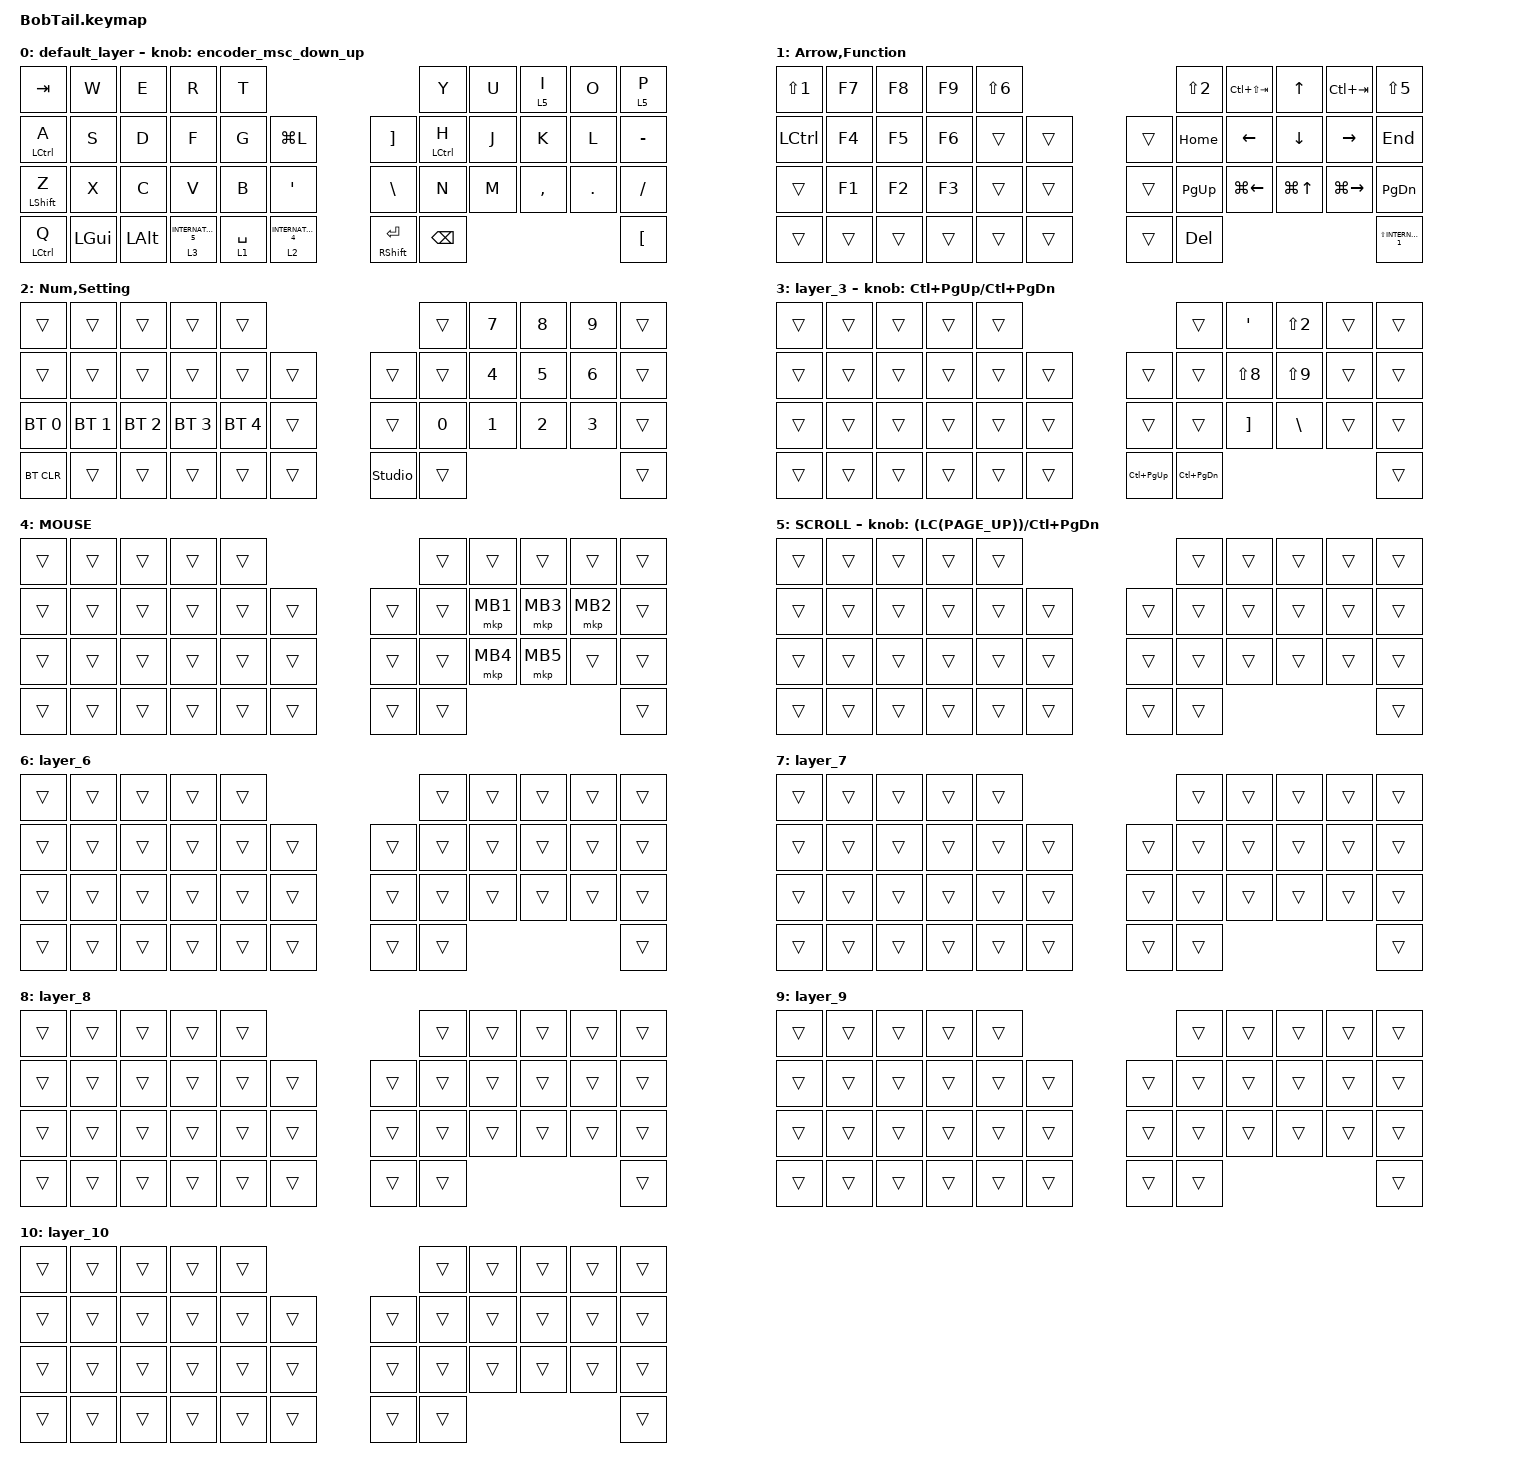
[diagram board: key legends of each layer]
#include <behaviors.dtsi>
#include <dt-bindings/zmk/bt.h>
#include <dt-bindings/zmk/keys.h>
#include <dt-bindings/zmk/pointing.h>

#define MOUSE 4
#define SCROLL 5
#define NUM 6
#define ZMK_POINTING_DEFAULT_SCRL_VAL 80

&mt {
    flavor = "balanced";
    quick-tap-ms = <0>;
};

/ {
    combos {
        compatible = "zmk,combos";

        shift_tab {
            bindings = <&kp LANG2>;
            key-positions = <12 13>;
        };

        lang {
            bindings = <&kp LANG1>;
            key-positions = <18 19>;
        };

        esc {
            bindings = <&kp ESCAPE>;
            key-positions = <0 1>;
        };

        taskview {
            bindings = <&kp LG(TAB)>;
            key-positions = <8 9>;
        };

        screenshot {
            bindings = <&kp LG(LS(S))>;
            key-positions = <20 21>;
        };

        creativepaste {
            bindings = <&kp LC(LA(V))>;
            key-positions = <12 13 11>;
        };
    };

    behaviors {
        encoder_msc_down_up: encoder_msc_down_up {
            compatible = "zmk,behavior-sensor-rotate";
            label = "ENCODER_MSC_DOWN_UP";
            #sensor-binding-cells = <0>;
            bindings = <&msc SCRL_UP>, <&msc SCRL_DOWN>;

            tap-ms = <20>;
        };
    };

    keymap {
        compatible = "zmk,keymap";

        default_layer {
            bindings = <
&kp TAB           &kp W         &kp E         &kp R                  &kp T                                                      &kp Y          &kp U  &lt 5 I    &kp O    &lt 5 P
&mt LCTRL A       &kp S         &kp D         &kp F                  &kp G        &kp LG(L)                  &kp RIGHT_BRACKET  &mt LCTRL H    &kp J  &kp K      &kp L    &kp MINUS
&mt LEFT_SHIFT Z  &kp X         &kp C         &kp V                  &kp B        &kp SINGLE_QUOTE           &kp BACKSLASH      &kp N          &kp M  &kp COMMA  &kp DOT  &kp SLASH
&mt LCTRL Q       &kp LEFT_GUI  &kp LEFT_ALT  &lt 3 INTERNATIONAL_5  &lt 1 SPACE  &lt 2 INTERNATIONAL_4      &mt RSHFT ENTER    &kp BACKSPACE                             &kp LEFT_BRACKET
            >;

            sensor-bindings = <&encoder_msc_down_up>;
        };

        Arrow,Function {
            bindings = <
&kp LS(N1)  &kp F7  &kp F8  &kp F9  &kp LS(NUMBER_6)                      &kp LS(NUMBER_2)  &kp LC(LS(TAB))     &kp UP_ARROW      &kp LC(TAB)          &kp LS(N5)
&kp LCTRL   &kp F4  &kp F5  &kp F6  &trans            &trans      &trans  &kp HOME          &kp LEFT            &kp DOWN          &kp RIGHT_ARROW      &kp END
&trans      &kp F1  &kp F2  &kp F3  &trans            &trans      &trans  &kp PAGE_UP       &kp LG(LEFT_ARROW)  &kp LG(UP_ARROW)  &kp LG(RIGHT_ARROW)  &kp PAGE_DOWN
&trans      &trans  &trans  &trans  &trans            &trans      &trans  &kp DEL                                                                      &kp LS(INTERNATIONAL_1)
            >;
        };

        Num,Setting {
            bindings = <
&trans        &trans        &trans        &trans        &trans                                    &trans        &kp NUMBER_7  &kp NUMBER_8  &kp NUMBER_9  &trans
&trans        &trans        &trans        &trans        &trans        &trans      &trans          &trans        &kp NUMBER_4  &kp NUMBER_5  &kp NUMBER_6  &trans
&bt BT_SEL 0  &bt BT_SEL 1  &bt BT_SEL 2  &bt BT_SEL 3  &bt BT_SEL 4  &trans      &trans          &kp NUMBER_0  &kp NUMBER_1  &kp NUMBER_2  &kp NUMBER_3  &trans
&bt BT_CLR    &trans        &trans        &trans        &trans        &trans      &studio_unlock  &trans                                                  &trans
            >;
        };

        layer_3 {
            bindings = <
&trans  &trans  &trans  &trans  &trans                               &trans             &kp SINGLE_QUOTE   &kp LS(NUMBER_2)  &trans  &trans
&trans  &trans  &trans  &trans  &trans  &trans      &trans           &trans             &kp LS(NUMBER_8)   &kp LS(NUMBER_9)  &trans  &trans
&trans  &trans  &trans  &trans  &trans  &trans      &trans           &trans             &kp RIGHT_BRACKET  &kp BACKSLASH     &trans  &trans
&trans  &trans  &trans  &trans  &trans  &trans      &kp LC(PAGE_UP)  &kp LC(PAGE_DOWN)                                               &trans
            >;

            sensor-bindings = <&inc_dec_kp LC(PAGE_UP) LC(PAGE_DOWN)>;
        };

        MOUSE {
            bindings = <
&trans  &trans  &trans  &trans  &trans                      &trans  &trans    &trans    &trans    &trans
&trans  &trans  &trans  &trans  &trans  &trans      &trans  &trans  &mkp MB1  &mkp MB3  &mkp MB2  &trans
&trans  &trans  &trans  &trans  &trans  &trans      &trans  &trans  &mkp MB4  &mkp MB5  &trans    &trans
&trans  &trans  &trans  &trans  &trans  &trans      &trans  &trans                                &trans
            >;
        };

        SCROLL {
            bindings = <
&trans  &trans  &trans  &trans  &trans                      &trans  &trans  &trans  &trans  &trans
&trans  &trans  &trans  &trans  &trans  &trans      &trans  &trans  &trans  &trans  &trans  &trans
&trans  &trans  &trans  &trans  &trans  &trans      &trans  &trans  &trans  &trans  &trans  &trans
&trans  &trans  &trans  &trans  &trans  &trans      &trans  &trans                          &trans
            >;

            sensor-bindings = <&inc_dec_kp (LC(PAGE_UP)) LC(PAGE_DOWN)>;
        };

        layer_6 {
            bindings = <
&trans  &trans  &trans  &trans  &trans                      &trans  &trans  &trans  &trans  &trans
&trans  &trans  &trans  &trans  &trans  &trans      &trans  &trans  &trans  &trans  &trans  &trans
&trans  &trans  &trans  &trans  &trans  &trans      &trans  &trans  &trans  &trans  &trans  &trans
&trans  &trans  &trans  &trans  &trans  &trans      &trans  &trans                          &trans
            >;
        };

        layer_7 {
            bindings = <
&trans  &trans  &trans  &trans  &trans                      &trans  &trans  &trans  &trans  &trans
&trans  &trans  &trans  &trans  &trans  &trans      &trans  &trans  &trans  &trans  &trans  &trans
&trans  &trans  &trans  &trans  &trans  &trans      &trans  &trans  &trans  &trans  &trans  &trans
&trans  &trans  &trans  &trans  &trans  &trans      &trans  &trans                          &trans
            >;
        };

        layer_8 {
            bindings = <
&trans  &trans  &trans  &trans  &trans                      &trans  &trans  &trans  &trans  &trans
&trans  &trans  &trans  &trans  &trans  &trans      &trans  &trans  &trans  &trans  &trans  &trans
&trans  &trans  &trans  &trans  &trans  &trans      &trans  &trans  &trans  &trans  &trans  &trans
&trans  &trans  &trans  &trans  &trans  &trans      &trans  &trans                          &trans
            >;
        };

        layer_9 {
            bindings = <
&trans  &trans  &trans  &trans  &trans                      &trans  &trans  &trans  &trans  &trans
&trans  &trans  &trans  &trans  &trans  &trans      &trans  &trans  &trans  &trans  &trans  &trans
&trans  &trans  &trans  &trans  &trans  &trans      &trans  &trans  &trans  &trans  &trans  &trans
&trans  &trans  &trans  &trans  &trans  &trans      &trans  &trans                          &trans
            >;
        };

        layer_10 {
            bindings = <
&trans  &trans  &trans  &trans  &trans                      &trans  &trans  &trans  &trans  &trans
&trans  &trans  &trans  &trans  &trans  &trans      &trans  &trans  &trans  &trans  &trans  &trans
&trans  &trans  &trans  &trans  &trans  &trans      &trans  &trans  &trans  &trans  &trans  &trans
&trans  &trans  &trans  &trans  &trans  &trans      &trans  &trans                          &trans
            >;
        };
    };
};
